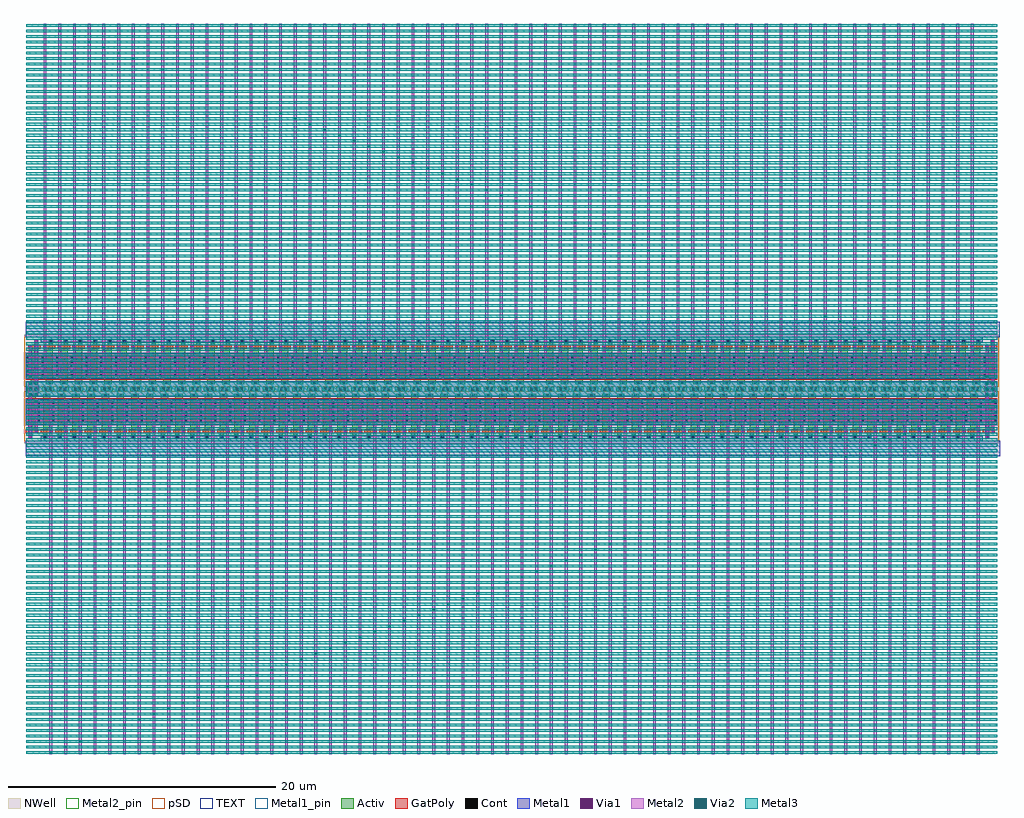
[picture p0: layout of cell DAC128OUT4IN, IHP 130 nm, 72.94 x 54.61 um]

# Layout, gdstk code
from math import pi, radians
import gdstk
lib = gdstk.Library(unit=1e-6, precision=1e-09)
def R(c, l, rs):  # rectangles x0, y0, x1, y1
    for r in rs: c.add(gdstk.rectangle(r[:2], r[2:], *l))
def A(c, l, x, y, w, h, nx, ny, dx, dy):  # array of equal rectangles
    R(c, l, [(x+i*dx, y+j*dy, x+i*dx+w, y+j*dy+h) for i in range(nx) for j in range(ny)])
Activ = (1, 0)
GatPoly = (5, 0)
Cont = (6, 0)
Metal1 = (8, 0)
Metal1_pin = (8, 2)
Metal2 = (10, 0)
Metal2_pin = (10, 2)
pSD = (14, 0)
Via1 = (19, 0)
Via2 = (29, 0)
Metal3 = (30, 0)
NWell = (31, 0)
TEXT = (63, 0)

switched_pmos_cascode = lib.new_cell('switched_pmos_cascode')
R(switched_pmos_cascode, Activ, [(0.29,-0.38,0.59,0.58)])
R(switched_pmos_cascode, GatPoly, [(-0.15,-0.15,0.77,0.15)])
R(switched_pmos_cascode, Cont, [(-0.26,-2.21,-0.1,-2.05), (0.36,0.35,0.52,0.51)])
R(switched_pmos_cascode, Metal1, [(-0.11,-0.265,0.11,0.145), (0.295,0.325,0.585,0.535)])
R(switched_pmos_cascode, Metal2, [(-0.11,-0.145,0.11,0.145)])
R(switched_pmos_cascode, pSD, [(-0.01,-0.56,0.89,0.76)])
R(switched_pmos_cascode, Via1, [(-0.095,-0.095,0.095,0.095)])
R(switched_pmos_cascode, NWell, [(-0.03,-0.79,0.91,0.89)])
R(switched_pmos_cascode, TEXT, [(0.335,0.285,0.545,0.575), (0.345,0.335,0.535,0.525)])

pcsource = lib.new_cell('PCSOURCE')
R(pcsource, Activ, [(-0.22,-3.3,0.66,-3), (0.04,-2.79,0.59,-0.22)])
R(pcsource, GatPoly, [(-0.33,-2.45,0.77,-0.45)])
A(pcsource, Cont, -0.26, -1.87, 0.16, 0.16, 1, 4, 0, 0.34)
R(pcsource, Cont, [(-0.03,-3.23,0.13,-3.07), (0.31,-3.23,0.47,-3.07), (0.235,-2.72,0.395,-2.56), (-0.08,-0.08,0.08,0.08)])
R(pcsource, Metal1, [(-0.33,-3.23,0.77,-2.56), (-0.33,-2.38,0.77,-0.45)])
R(pcsource, Metal1_pin, [(-0.33,-3.23,0.77,-2.56), (-0.33,-2.38,0.77,-0.45), (0.295,0.325,0.585,0.535)])
R(pcsource, Metal2_pin, [(-0.105,-0.145,0.105,0.145)])
R(pcsource, pSD, [(-0.45,-2.97,0.89,0.76)])
R(pcsource, NWell, [(-0.47,-3.54,0.91,0.89)])
pcsource.add(gdstk.Reference(switched_pmos_cascode, (0,0)))
pcsource.add(gdstk.Label('VDD', (0.22,-2.895), layer=8, texttype=2))
pcsource.add(gdstk.Label('Iout', (0.44,0.43), layer=8, texttype=2))
pcsource.add(gdstk.Label('VbiasP', (0.22,-1.45), layer=8, texttype=2))
pcsource.add(gdstk.Label('VcascodeP', (0,0), layer=10, texttype=2))

via_stack = lib.new_cell('via_stack')
R(via_stack, Metal2, [(-0.145,-0.555,0.145,0.555)])
A(via_stack, Via2, -0.095, -0.505, 0.19, 0.19, 1, 3, 0, 0.41)
R(via_stack, Metal3, [(-0.145,-0.555,0.145,0.555)])

refsource_connect = lib.new_cell('refsource_connect')
R(refsource_connect, Via1, [(0.345,0.335,0.535,0.525)])
R(refsource_connect, Via2, [(-0.095,-2.325,0.095,-2.135)])
refsource_connect.add(gdstk.FlexPath([(0,-2.375),(0,0.145)], 0.22, ends="flush", simple_path=True, layer=10, datatype=0))  # Metal2
refsource_connect.add(gdstk.FlexPath([(0.44,-2.835),(0.44,0.575)], 0.22, ends="flush", simple_path=True, layer=10, datatype=0))  # Metal2
refsource_connect.add(gdstk.FlexPath([(0.44,0.535),(0.44,-0.485)], 0.29, ends="flush", simple_path=True, layer=8, datatype=0))  # Metal1
refsource_connect.add(gdstk.Reference(via_stack, (0.44,-3.15)))

switchwire = lib.new_cell('switchwire')
switchwire.add(gdstk.FlexPath([(0,-2.4),(0,24.155)], 0.21, ends="flush", simple_path=True, layer=10, datatype=0))  # Metal2

cascodewire = lib.new_cell('cascodewire')
cascodewire.add(gdstk.FlexPath([(-0.31,-2.23),(72.25,-2.23)], 0.2, ends="flush", simple_path=True, layer=30, datatype=0))  # Metal3

cascodevia = lib.new_cell('cascodevia')
R(cascodevia, Via2, [(1.005,-1.915,1.195,-1.725)])

dac128out4in = lib.new_cell('DAC128OUT4IN')
R(dac128out4in, Metal1, [(0.77,-7.61,71.17,-6.625), (0.77,0.325,71.17,1.31)])
R(dac128out4in, Metal2, [(-0.145,-3.705,0.585,-2.595), (71.355,-3.705,72.085,-2.595)])
R(dac128out4in, Via2, [(1.005,23.915,1.195,24.105)])
dac128out4in.add(gdstk.FlexPath([(0.44,-2.835),(0.44,0.575)], 0.24, ends="flush", simple_path=True, layer=10, datatype=0))  # Metal2
dac128out4in.add(gdstk.FlexPath([(-0.355,1.31),(72.46,1.31)], 1.15, ends="flush", simple_path=True, layer=8, datatype=0))  # Metal1
dac128out4in.add(gdstk.FlexPath([(-0.35,-7.61),(72.465,-7.61)], 1.15, ends="flush", simple_path=True, layer=8, datatype=0))  # Metal1
dac128out4in.add(gdstk.FlexPath([(-0.31,-3.15),(72.25,-3.15)], 1.11, ends="flush", simple_path=True, layer=30, datatype=0))  # Metal3
r = gdstk.Reference(pcsource, (0,0)); r.repetition = gdstk.Repetition(66, 1, v1=(1.1,0), v2=(0,0)); dac128out4in.add(r)
r = gdstk.Reference(pcsource, (71.94,-6.3), rotation=pi); r.repetition = gdstk.Repetition(66, 1, v1=(-1.1,0), v2=(0,0)); dac128out4in.add(r)
r = gdstk.Reference(refsource_connect, (71.94,-6.3), rotation=pi); r.repetition = gdstk.Repetition(2, 1, v1=(-71.5,0), v2=(0,0)); dac128out4in.add(r)
r = gdstk.Reference(refsource_connect, (0,0)); r.repetition = gdstk.Repetition(2, 1, v1=(71.5,0), v2=(0,0)); dac128out4in.add(r)
r = gdstk.Reference(switchwire, (1.1,0)); r.repetition = gdstk.Repetition(64, 1, v1=(1.1,0), v2=(0,0)); dac128out4in.add(r)
r = gdstk.Reference(switchwire, (70.84,-6.3), rotation=pi); r.repetition = gdstk.Repetition(64, 1, v1=(-1.1,0), v2=(0,0)); dac128out4in.add(r)
r = gdstk.Reference(cascodewire, (0,0)); r.repetition = gdstk.Repetition(1, 65, v1=(0,0), v2=(0,0.41)); dac128out4in.add(r)
r = gdstk.Reference(cascodewire, (71.94,-6.3), rotation=pi); r.repetition = gdstk.Repetition(1, 65, v1=(0,0), v2=(0,-0.41)); dac128out4in.add(r)
r = gdstk.Reference(cascodevia, (0,25.83)); r.repetition = gdstk.Repetition(1, 64, v1=(0,0), v2=(1.1,-0.41)); dac128out4in.add(r)
r = gdstk.Reference(cascodevia, (71.94,-6.3), rotation=pi); r.repetition = gdstk.Repetition(1, 64, v1=(0,0), v2=(-1.1,-0.41)); dac128out4in.add(r)

lib.write_gds('DAC128OUT4IN.gds')
